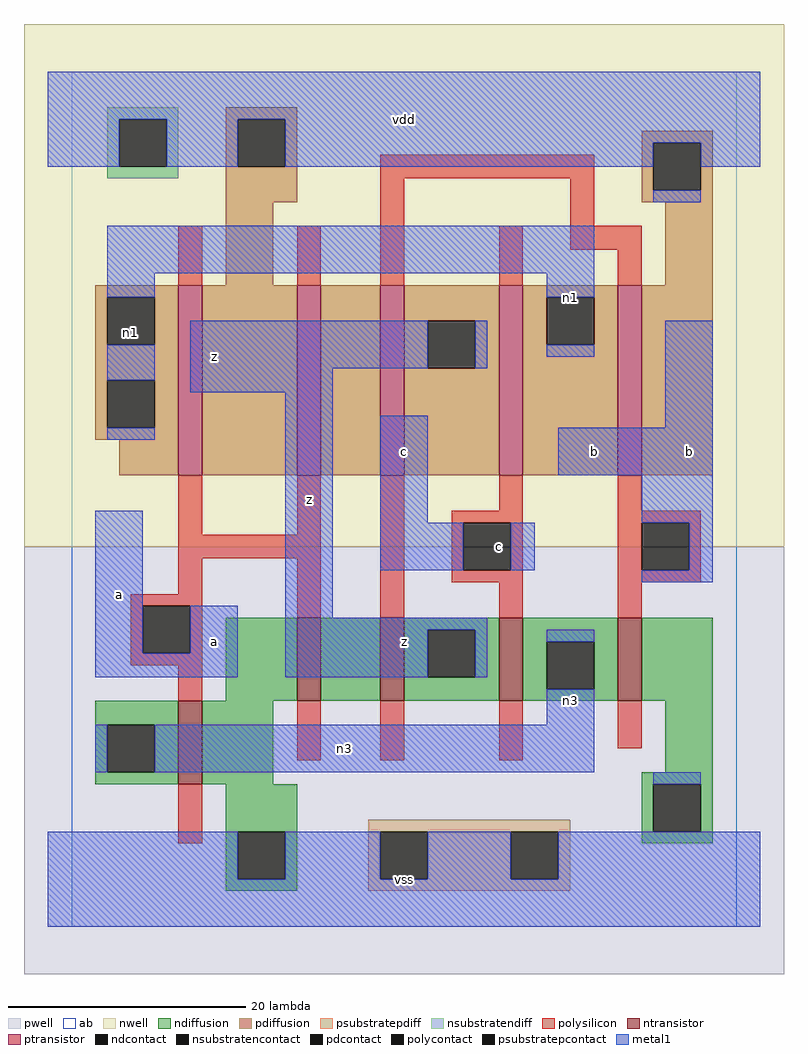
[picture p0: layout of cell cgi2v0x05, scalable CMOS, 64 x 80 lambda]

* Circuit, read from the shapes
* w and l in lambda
.subckt cgi2v0x05 a b c n1 n3 vdd vss z
M1 vss a n3 vss nfet w=7 l=2
M2 n2 a vss vss nfet w=7 l=2
M3 z b n2 vss nfet w=7 l=2
M4 n3 c z vss nfet w=7 l=2
M5 vss b n3 vss nfet w=7 l=2
M6 vdd a n1 vdd pfet w=16 l=2
M7 n4 a vdd vdd pfet w=16 l=2
M8 z b n4 vdd pfet w=16 l=2
M9 n1 c z vdd pfet w=16 l=2
M10 vdd b n1 vdd pfet w=16 l=2
.ends

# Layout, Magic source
magic
tech scmos
<< ab >>
rect 0 0 56 72
<< pwell >>
rect -4 -4 60 32
<< nwell >>
rect -4 32 60 76
<< polysilicon >>
rect 26 63 44 65
rect 9 54 11 59
rect 19 54 21 59
rect 26 54 28 63
rect 42 59 44 63
rect 36 54 38 59
rect 42 57 48 59
rect 46 54 48 57
rect 9 33 11 38
rect 19 33 21 38
rect 9 31 21 33
rect 9 28 11 31
rect 5 27 11 28
rect 5 23 6 27
rect 10 23 11 27
rect 19 26 21 31
rect 26 26 28 38
rect 36 35 38 38
rect 32 34 38 35
rect 32 30 33 34
rect 37 30 38 34
rect 32 29 38 30
rect 36 26 38 29
rect 46 35 48 38
rect 46 34 53 35
rect 46 30 48 34
rect 52 30 53 34
rect 46 29 53 30
rect 46 26 48 29
rect 5 22 11 23
rect 9 19 11 22
rect 19 14 21 19
rect 26 14 28 19
rect 36 14 38 19
rect 46 15 48 19
rect 9 7 11 12
<< ndiffusion >>
rect 13 19 19 26
rect 21 19 26 26
rect 28 25 36 26
rect 28 21 30 25
rect 34 21 36 25
rect 28 19 36 21
rect 38 24 46 26
rect 38 20 40 24
rect 44 20 46 24
rect 38 19 46 20
rect 48 19 54 26
rect 2 17 9 19
rect 2 13 3 17
rect 7 13 9 17
rect 2 12 9 13
rect 11 12 17 19
rect 50 13 54 19
rect 48 12 54 13
rect 13 8 19 12
rect 13 4 14 8
rect 18 4 19 8
rect 13 3 19 4
rect 48 8 49 12
rect 53 8 54 12
rect 48 7 54 8
<< pdiffusion >>
rect 13 68 19 69
rect 13 64 14 68
rect 18 64 19 68
rect 48 66 54 67
rect 13 61 19 64
rect 13 54 17 61
rect 48 62 49 66
rect 53 62 54 66
rect 48 61 54 62
rect 50 54 54 61
rect 2 53 9 54
rect 2 49 3 53
rect 7 49 9 53
rect 2 46 9 49
rect 2 42 3 46
rect 7 42 9 46
rect 2 41 9 42
rect 4 38 9 41
rect 11 38 19 54
rect 21 38 26 54
rect 28 51 36 54
rect 28 47 30 51
rect 34 47 36 51
rect 28 38 36 47
rect 38 53 46 54
rect 38 49 40 53
rect 44 49 46 53
rect 38 38 46 49
rect 48 38 54 54
<< metal1 >>
rect -2 68 58 72
rect -2 64 4 68
rect 8 64 14 68
rect 18 66 58 68
rect 18 64 49 66
rect 53 64 58 66
rect 49 61 53 62
rect 3 55 44 59
rect 3 53 7 55
rect 40 53 44 55
rect 3 46 7 49
rect 10 47 30 51
rect 34 47 35 51
rect 40 48 44 49
rect 10 45 22 47
rect 3 41 7 42
rect 2 23 6 35
rect 10 23 14 27
rect 2 21 14 23
rect 18 26 22 45
rect 26 34 30 43
rect 50 42 54 51
rect 41 38 54 42
rect 48 34 54 38
rect 26 30 33 34
rect 37 30 39 34
rect 52 30 54 34
rect 48 29 54 30
rect 18 25 35 26
rect 18 21 30 25
rect 34 21 35 25
rect 40 24 44 25
rect 40 17 44 20
rect 2 13 3 17
rect 7 13 44 17
rect 49 12 53 13
rect -2 4 14 8
rect 18 4 26 8
rect 30 4 37 8
rect 41 4 58 8
rect -2 0 58 4
<< ntransistor >>
rect 19 19 21 26
rect 26 19 28 26
rect 36 19 38 26
rect 46 19 48 26
rect 9 12 11 19
<< ptransistor >>
rect 9 38 11 54
rect 19 38 21 54
rect 26 38 28 54
rect 36 38 38 54
rect 46 38 48 54
<< polycontact >>
rect 6 23 10 27
rect 33 30 37 34
rect 48 30 52 34
<< ndcontact >>
rect 30 21 34 25
rect 40 20 44 24
rect 3 13 7 17
rect 14 4 18 8
rect 49 8 53 12
<< pdcontact >>
rect 14 64 18 68
rect 49 62 53 66
rect 3 49 7 53
rect 3 42 7 46
rect 30 47 34 51
rect 40 49 44 53
<< psubstratepcontact >>
rect 26 4 30 8
rect 37 4 41 8
<< nsubstratencontact >>
rect 4 64 8 68
<< psubstratepdiff >>
rect 25 8 42 9
rect 25 4 26 8
rect 30 4 37 8
rect 41 4 42 8
rect 25 3 42 4
<< nsubstratendiff >>
rect 3 68 9 69
rect 3 64 4 68
rect 8 64 9 68
rect 3 63 9 64
<< labels >>
rlabel metal1 4 28 4 28 6 a
rlabel pdcontact 5 50 5 50 6 n1
rlabel metal1 12 24 12 24 6 a
rlabel metal1 20 36 20 36 6 z
rlabel metal1 12 48 12 48 6 z
rlabel metal1 28 4 28 4 6 vss
rlabel metal1 28 24 28 24 6 z
rlabel polycontact 36 32 36 32 6 c
rlabel metal1 28 40 28 40 6 c
rlabel metal1 28 68 28 68 6 vdd
rlabel metal1 23 15 23 15 6 n3
rlabel metal1 42 19 42 19 6 n3
rlabel metal1 52 40 52 40 6 b
rlabel metal1 44 40 44 40 6 b
rlabel metal1 42 53 42 53 6 n1
<< end >>
